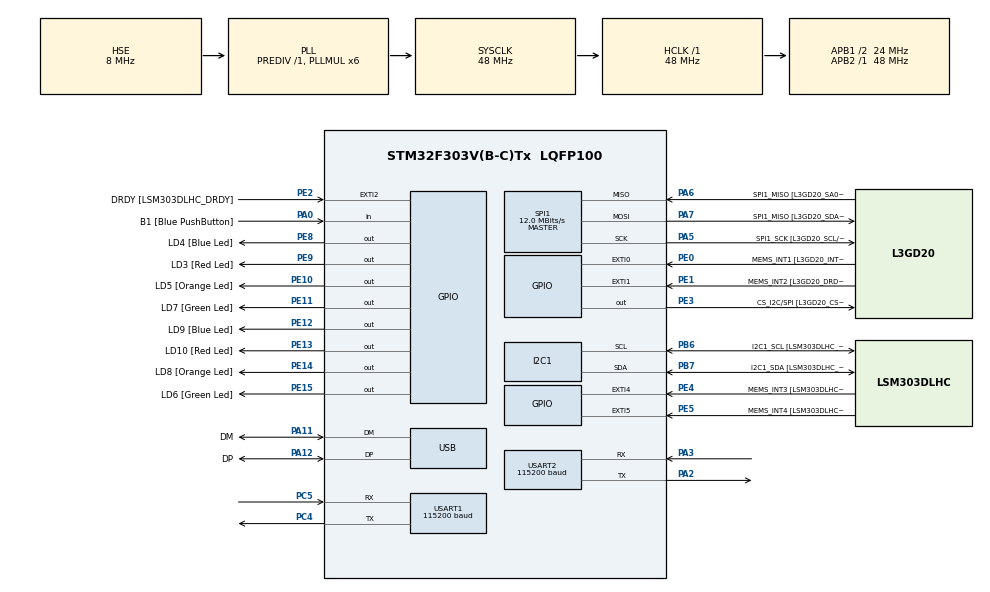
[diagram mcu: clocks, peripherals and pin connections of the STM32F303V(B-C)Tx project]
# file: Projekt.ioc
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ADC1.Channel-0\#ChannelRegularConversion=ADC_CHANNEL_TEMPSENSOR
ADC1.NbrOfConversionFlag=1
ADC1.Offset-0\#ChannelRegularConversion=0
ADC1.OffsetNumber-0\#ChannelRegularConversion=ADC_OFFSET_NONE
ADC1.Rank-0\#ChannelRegularConversion=1
ADC1.SamplingTime-0\#ChannelRegularConversion=ADC_SAMPLETIME_181CYCLES_5
ADC1.master=1
I2C1.Timing=0x00201D2B
I2C1.Timing-I2C=0x2000090E
Mcu.Family=STM32F3
Mcu.Name=STM32F303V(B-C)Tx
Mcu.Package=LQFP100
NVIC.PriorityGroup=NVIC_PRIORITYGROUP_0
PA0.GPIO_Label=B1 [Blue PushButton]
PA0.Signal=GPIO_Input
PA11.GPIO_Label=DM
PA11.Mode=Device
PA11.Signal=USB_DM
PA12.GPIO_Label=DP
PA12.Mode=Device
PA12.Signal=USB_DP
PA13.GPIO_Label=SWDIO
PA13.Mode=Serial_Wire
PA13.Signal=SYS_JTMS-SWDIO
PA14.GPIO_Label=SWCLK
PA14.Mode=Serial_Wire
PA14.Signal=SYS_JTCK-SWCLK
PA2.Mode=Asynchronous
PA2.Signal=USART2_TX
PA3.Mode=Asynchronous
PA3.Signal=USART2_RX
PA5.GPIO_Label=SPI1_SCK [L3GD20_SCL/SPC]
PA5.Mode=Full_Duplex_Master
PA5.Signal=SPI1_SCK
PA6.GPIO_Label=SPI1_MISO [L3GD20_SA0/SDO]
PA6.Mode=Full_Duplex_Master
PA6.Signal=SPI1_MISO
PA7.GPIO_Label=SPI1_MISO [L3GD20_SDA/SDI/SDO]
PA7.Mode=Full_Duplex_Master
PA7.Signal=SPI1_MOSI
PB3.GPIO_Label=SWO
PB3.Signal=SYS_JTDO-TRACESWO
PB6.GPIO_Label=I2C1_SCL [LSM303DLHC_SCL]
PB6.GPIO_Pu=GPIO_PULLUP
PB6.Mode=I2C
PB6.Signal=I2C1_SCL
PB7.GPIO_Label=I2C1_SDA [LSM303DLHC_SDA]
PB7.GPIO_Pu=GPIO_PULLUP
PB7.Mode=I2C
PB7.Signal=I2C1_SDA
PC14-OSC32_IN.GPIO_Label=OSC32_IN
PC14-OSC32_IN.Signal=RCC_OSC32_IN
PC15-OSC32_OUT.GPIO_Label=OSC32_OUT
PC15-OSC32_OUT.Signal=RCC_OSC32_OUT
PC4.Mode=Asynchronous
PC4.Signal=USART1_TX
PC5.Mode=Asynchronous
PC5.Signal=USART1_RX
PE0.GPIO_Label=MEMS_INT1 [L3GD20_INT1]
PE0.GPIO_ModeDefaultEXTI=GPIO_MODE_EVT_RISING
PE0.Signal=GPXTI0
PE1.GPIO_Label=MEMS_INT2 [L3GD20_DRDY/INT2]
PE1.GPIO_ModeDefaultEXTI=GPIO_MODE_EVT_RISING
PE1.Signal=GPXTI1
PE10.GPIO_Label=LD5 [Orange Led]
PE10.Signal=GPIO_Output
PE11.GPIO_Label=LD7 [Green Led]
PE11.Signal=GPIO_Output
PE12.GPIO_Label=LD9 [Blue Led]
PE12.Signal=GPIO_Output
PE13.GPIO_Label=LD10 [Red Led]
PE13.Signal=GPIO_Output
PE14.GPIO_Label=LD8 [Orange Led]
PE14.Signal=GPIO_Output
PE15.GPIO_Label=LD6 [Green Led]
PE15.Signal=GPIO_Output
PE2.GPIO_Label=DRDY [LSM303DLHC_DRDY]
PE2.GPIO_ModeDefaultEXTI=GPIO_MODE_EVT_RISING
PE2.Signal=GPXTI2
PE3.GPIO_Label=CS_I2C/SPI [L3GD20_CS_I2C/SPI]
PE3.Signal=GPIO_Output
PE4.GPIO_Label=MEMS_INT3 [LSM303DLHC_INT1]
PE4.GPIO_ModeDefaultEXTI=GPIO_MODE_EVT_RISING
PE4.Signal=GPXTI4
PE5.GPIO_Label=MEMS_INT4 [LSM303DLHC_INT2]
PE5.GPIO_ModeDefaultEXTI=GPIO_MODE_EVT_RISING
PE5.Signal=GPXTI5
PE8.GPIO_Label=LD4 [Blue Led]
PE8.Signal=GPIO_Output
PE9.GPIO_Label=LD3 [Red Led]
PE9.Signal=GPIO_Output
PF0-OSC_IN.GPIO_Label=OSC_IN
PF0-OSC_IN.Mode=HSE-External-Clock-Source
PF0-OSC_IN.Signal=RCC_OSC_IN
PF1-OSC_OUT.GPIO_Label=OSC_OUT
PF1-OSC_OUT.Signal=RCC_OSC_OUT
ProjectManager.HeapSize=0x200
ProjectManager.StackSize=0x400
ProjectManager.TargetToolchain=STM32CubeIDE
RCC.AHBFreq_Value=48000000
RCC.APB1CLKDivider=RCC_HCLK_DIV2
RCC.APB1Freq_Value=24000000
RCC.APB1TimFreq_Value=48000000
RCC.APB2Freq_Value=48000000
RCC.APB2TimFreq_Value=48000000
RCC.CortexFreq_Value=48000000
RCC.HCLKFreq_Value=48000000
RCC.HSE_VALUE=8000000
RCC.HSI_VALUE=8000000
RCC.LSE_VALUE=32768
RCC.PLLMUL=RCC_PLL_MUL6
RCC.SYSCLKFreq_VALUE=48000000
RCC.SYSCLKSourceVirtual=RCC_SYSCLKSOURCE_PLLCLK
RCC.USBFreq_Value=48000000
SPI1.BaudRatePrescaler=SPI_BAUDRATEPRESCALER_4
SPI1.BaudRatePrescaler-Full_Duplex_Master=SPI_BAUDRATEPRESCALER_2
SPI1.CalculateBaudRate=12.0 MBits/s
SPI1.CalculateBaudRate-Full_Duplex_Master=24.0 MBits/s
SPI1.Direction=SPI_DIRECTION_2LINES
SPI1.Mode=SPI_MODE_MASTER
SPI1.Mode-Full_Duplex_Master=SPI_MODE_MASTER
SPI1.VirtualType=VM_MASTER
USART1.BaudRate=115200
USART1.VirtualMode-Asynchronous=VM_ASYNC
USART2.BaudRate=115200
USART2.VirtualMode-Asynchronous=VM_ASYNC
VP_ADC1_TempSens_Input.Mode=IN-TempSens
board=STM32F3DISCOVERY

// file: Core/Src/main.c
/* USER CODE BEGIN Header */
/**
  ******************************************************************************
  * @file           : main.c
  * @brief          : Temperatura + Štetje korakov z LSM303DLHC
  ******************************************************************************
  */
/* USER CODE END Header */
#include "main.h"

/* USER CODE BEGIN Includes */
#include <string.h>
/* USER CODE END Includes */

/* USER CODE BEGIN PD */
#define TS_CAL1 *((uint16_t*)0x1FFFF7C2)
#define TS_CAL2 *((uint16_t*)0x1FFFF7B8)
#define AVG_SLOPE ((float)(TS_CAL2 - TS_CAL1) / 80.0f)

// LSM303DLHC Akcelometer I2C naslov
#define LSM303DLHC_ACC_ADDR (0x19 << 1)  // 0x32

// LSM303DLHC registri
#define LSM303DLHC_CTRL_REG1_A 0x20
#define LSM303DLHC_CTRL_REG4_A 0x23
#define LSM303DLHC_OUT_X_L_A   0x28
#define LSM303DLHC_OUT_X_H_A   0x29
#define LSM303DLHC_OUT_Y_L_A   0x2A
#define LSM303DLHC_OUT_Y_H_A   0x2B
#define LSM303DLHC_OUT_Z_L_A   0x2C
#define LSM303DLHC_OUT_Z_H_A   0x2D

// Parametri za detekcijo korakov
#define STEP_THRESHOLD 0.20f      // Prag za detekcijo koraka (g) - znižan za normalno hojo
#define STEP_MIN_INTERVAL 250     // Minimalen čas med koraki (ms)
#define STEP_MAX_INTERVAL 2000    // Maksimalen čas med koraki (ms)
#define GRAVITY 1.0f              // Gravitacijski pospešek (g)

#define AP_SSID "ESP32-WEB"
#define AP_PASS "12345678"

#define WIFI_SSID "247386"
#define WIFI_PASS "dh7xfrp4rh"

#define WEBSERVER_PORT 80
#define WEBSERVER_TIMEOUT 60

/* USER CODE END PD */

ADC_HandleTypeDef hadc1;

I2C_HandleTypeDef hi2c1;

SPI_HandleTypeDef hspi1;

UART_HandleTypeDef huart1;
UART_HandleTypeDef huart2;

PCD_HandleTypeDef hpcd_USB_FS;

/* USER CODE BEGIN PV */
char uartBuf[150];

// ESP32 UART receive buffer
#define ESP_RX_BUFFER_SIZE 512
uint8_t esp_rx_buffer[ESP_RX_BUFFER_SIZE];
uint16_t esp_rx_index = 0;
uint8_t esp_rx_byte;  // Za interrupt receive

uint32_t step_count = 0;
uint32_t last_step_time = 0;
float prev_magnitude = GRAVITY;
uint8_t step_state = 0;  // 0: čakanje na vrh, 1: čakanje na padec
uint8_t esp_init_done = 0;
/* USER CODE END PV */

void SystemClock_Config(void);
static void MX_GPIO_Init(void);
static void MX_I2C1_Init(void);
static void MX_SPI1_Init(void);
static void MX_USB_PCD_Init(void);
static void MX_USART2_UART_Init(void);
static void MX_ADC1_Init(void);
static void MX_USART1_UART_Init(void);

/* USER CODE BEGIN 0 */

void ESP_ClearRxBuffer(void)
{
    if (esp_rx_index > 0)
    {
        HAL_UART_Transmit(&huart1, (uint8_t*)"[ESP RX]: ", 10, HAL_MAX_DELAY);
        HAL_UART_Transmit(&huart1, esp_rx_buffer, esp_rx_index, HAL_MAX_DELAY);
        HAL_UART_Transmit(&huart1, (uint8_t*)"\r\n", 2, HAL_MAX_DELAY);
    }

    memset(esp_rx_buffer, 0, ESP_RX_BUFFER_SIZE);
    esp_rx_index = 0;
}

HAL_StatusTypeDef ESP_WaitForResponse(const char* expected, uint32_t timeout)
{
    uint32_t start = HAL_GetTick();
    while ((HAL_GetTick() - start) < timeout)
    {
        if (strstr((char*)esp_rx_buffer, expected) != NULL)
        {
            char msg[50];
            int len = snprintf(msg, sizeof(msg), "[ESP OK]: Found '%s'\r\n", expected);
            HAL_UART_Transmit(&huart1, (uint8_t*)msg, len, HAL_MAX_DELAY);
            return HAL_OK;
        }
        HAL_Delay(10);
    }

    char msg[50];
    int len = snprintf(msg, sizeof(msg), "[ESP TIMEOUT]: '%s' not found\r\n", expected);
    HAL_UART_Transmit(&huart1, (uint8_t*)msg, len, HAL_MAX_DELAY);
    return HAL_TIMEOUT;
}

static void esp_start_webserver(void)
{
  char cmd[96];

  ESP_ClearRxBuffer();
  HAL_UART_Transmit(&huart2, (uint8_t*)"AT+SYSSTORE=1\r\n", 12, HAL_MAX_DELAY);
  ESP_WaitForResponse("OK", 8000);

  ESP_ClearRxBuffer();
  HAL_UART_Transmit(&huart2, (uint8_t*)"AT+CWMODE=3\r\n", 13, HAL_MAX_DELAY);
  ESP_WaitForResponse("OK", 2000);

  ESP_ClearRxBuffer();
  snprintf(cmd, sizeof(cmd), "AT+CWSAP=\"%s\",\"%s\",11,3,3\r\n", AP_SSID, AP_PASS);

  HAL_UART_Transmit(&huart2, (uint8_t*)cmd, strlen(cmd), HAL_MAX_DELAY);
  ESP_WaitForResponse("OK", 3000);

  ESP_ClearRxBuffer();
  HAL_UART_Transmit(&huart2, (uint8_t*)"AT+CIPMUX=1\r\n", 13, HAL_MAX_DELAY);
  ESP_WaitForResponse("OK", 1000);

  ESP_ClearRxBuffer();
  snprintf(cmd, sizeof(cmd), "AT+WEBSERVER=1,%u,%u\r\n", WEBSERVER_PORT, WEBSERVER_TIMEOUT);
  HAL_UART_Transmit(&huart2, (uint8_t*)cmd, strlen(cmd), HAL_MAX_DELAY);
  ESP_WaitForResponse("OK", 5000);
}

static HAL_StatusTypeDef esp_setup_wifi(void)
{
    ESP_ClearRxBuffer();
    HAL_UART_Transmit(&huart2, (uint8_t*)"AT+CWMODE=3\r\n", 13, HAL_MAX_DELAY);
    ESP_WaitForResponse("OK", 2000);

    char cmd[128];
    ESP_ClearRxBuffer();
    snprintf(cmd, sizeof(cmd), "AT+CWJAP=\"%s\",\"%s\"\r\n", WIFI_SSID, WIFI_PASS);
    HAL_UART_Transmit(&huart2, (uint8_t*)cmd, strlen(cmd), HAL_MAX_DELAY);
    if (ESP_WaitForResponse("OK", 10000) != HAL_OK)
    {
        return HAL_ERROR;
    }

    ESP_ClearRxBuffer();
    HAL_UART_Transmit(&huart2, (uint8_t*)"AT+CIPMUX=1\r\n", 13, HAL_MAX_DELAY);
    ESP_WaitForResponse("OK", 1000);

    return HAL_OK;
}

void ESP_SendHTTPPost(const char* type, float value)
{
    char payload[150];
    char http_request[400];
    char cmd[100];

    // Link ID za CIPMUX=1 način (webserver uporablja ostale ID-je)
    const uint8_t link_id = 0;

    // 1. Pripravi JSON payload
    int payload_len = snprintf(payload, sizeof(payload),
            "{\"userId\":\"6969879105a4050f41712049\",\"type\":\"%s\",\"value\":%.1f}",
            type, value);

    // 2. Pripravi HTTP request
    snprintf(http_request, sizeof(http_request),
             "POST /api/sensorData HTTP/1.1\r\n"
             "Host: 172.20.10.10:3001\r\n"
             "Content-Type: application/json\r\n"
             "Content-Length: %d\r\n"
             "Connection: close\r\n"
             "\r\n"
             "%s",
             payload_len, payload);

    int request_len = strlen(http_request);

    // 3. Zapri morebitno odprto povezavo (z link ID!)
    ESP_ClearRxBuffer();
    snprintf(cmd, sizeof(cmd), "AT+CIPCLOSE=%d\r\n", link_id);
    HAL_UART_Transmit(&huart2, (uint8_t*)cmd, strlen(cmd), HAL_MAX_DELAY);
    HAL_Delay(500);

    // 4. Odpri TCP povezavo (z link ID!)
    ESP_ClearRxBuffer();
    snprintf(cmd, sizeof(cmd), "AT+CIPSTART=%d,\"TCP\",\"172.20.10.10\",3001\r\n", link_id);
    HAL_UART_Transmit(&huart2, (uint8_t*)cmd, strlen(cmd), HAL_MAX_DELAY);
    ESP_WaitForResponse("OK", 5000);

    ESP_ClearRxBuffer();
    snprintf(cmd, sizeof(cmd), "AT+CIPSEND=%d,%d\r\n", link_id, request_len);
    HAL_UART_Transmit(&huart2, (uint8_t*)cmd, strlen(cmd), HAL_MAX_DELAY);
    ESP_WaitForResponse(">", 2000);

    ESP_ClearRxBuffer();
    HAL_UART_Transmit(&huart2, (uint8_t*)http_request, request_len, HAL_MAX_DELAY);
    ESP_WaitForResponse("SEND OK", 3000);

    HAL_Delay(500);
    snprintf(cmd, sizeof(cmd), "AT+CIPCLOSE=%d\r\n", link_id);
    HAL_UART_Transmit(&huart2, (uint8_t*)cmd, strlen(cmd), HAL_MAX_DELAY);
}

float Read_Temperature(void)
{
    uint32_t adc_value;
    HAL_ADC_Start(&hadc1);
    HAL_ADC_PollForConversion(&hadc1, 100);
    adc_value = HAL_ADC_GetValue(&hadc1);
    HAL_ADC_Stop(&hadc1);

    float slope = (float)(TS_CAL2 - TS_CAL1) / (110.0f - 30.0f);
    float temp = ((float)adc_value - TS_CAL1) / slope + 30.0f;
    float calibrated_temp = temp - 115.0f;

    return calibrated_temp;
}

void LSM303DLHC_WriteReg(uint8_t reg, uint8_t value)
{
    uint8_t data[2] = {reg, value};
    HAL_I2C_Master_Transmit(&hi2c1, LSM303DLHC_ACC_ADDR, data, 2, HAL_MAX_DELAY);
}

uint8_t LSM303DLHC_ReadReg(uint8_t reg)
{
    uint8_t value;
    HAL_I2C_Mem_Read(&hi2c1, LSM303DLHC_ACC_ADDR, reg, I2C_MEMADD_SIZE_8BIT, &value, 1, HAL_MAX_DELAY);
    return value;
}

void LSM303DLHC_Init(void)
{

    LSM303DLHC_WriteReg(LSM303DLHC_CTRL_REG1_A, 0x57);

    LSM303DLHC_WriteReg(LSM303DLHC_CTRL_REG4_A, 0x08);

    HAL_Delay(10);
}

void LSM303DLHC_ReadAccel(int16_t* x, int16_t* y, int16_t* z)
{
    uint8_t buffer[6];

    HAL_I2C_Mem_Read(&hi2c1, LSM303DLHC_ACC_ADDR,
                     LSM303DLHC_OUT_X_L_A | 0x80,
                     I2C_MEMADD_SIZE_8BIT,
                     buffer, 6, HAL_MAX_DELAY);

    *x = (int16_t)((buffer[1] << 8) | buffer[0]);
    *y = (int16_t)((buffer[3] << 8) | buffer[2]);
    *z = (int16_t)((buffer[5] << 8) | buffer[4]);
}

void LSM303DLHC_ReadAccel_G(float* x, float* y, float* z)
{
    int16_t raw_x, raw_y, raw_z;
    LSM303DLHC_ReadAccel(&raw_x, &raw_y, &raw_z);

    *x = raw_x / 16384.0f;
    *y = raw_y / 16384.0f;
    *z = raw_z / 16384.0f;
}

float Process_Steps(float ax, float ay, float az)
{
    float magnitude = sqrtf(ax*ax + ay*ay + az*az);
    float accel_diff = fabs(magnitude - GRAVITY);

    uint32_t current_time = HAL_GetTick();
    uint32_t time_since_last_step = current_time - last_step_time;

    if (step_state == 0)
    {
        if (accel_diff > STEP_THRESHOLD && accel_diff > fabs(prev_magnitude - GRAVITY))
        {
            if (time_since_last_step > STEP_MIN_INTERVAL)
            {
                step_count++;
                last_step_time = current_time;
                step_state = 1;
            }
        }
    }
    else if (step_state == 1)
    {
        if (accel_diff < STEP_THRESHOLD * 0.6f)
        {
            step_state = 0;
        }
    }

    if (time_since_last_step > STEP_MAX_INTERVAL)
    {
        step_state = 0;
    }

    prev_magnitude = magnitude;
    return magnitude;
}

/* USER CODE END 0 */

int main(void)
{

  /* MCU Configuration--------------------------------------------------------*/

  /* Reset of all peripherals, Initializes the Flash interface and the Systick. */
  HAL_Init();

  /* Configure the system clock */
  SystemClock_Config();

  /* Initialize all configured peripherals */
  MX_GPIO_Init();
  MX_I2C1_Init();
  MX_SPI1_Init();
  MX_USB_PCD_Init();
  MX_USART2_UART_Init();
  MX_ADC1_Init();
  MX_USART1_UART_Init();
  /* USER CODE BEGIN 2 */

  HAL_ADCEx_Calibration_Start(&hadc1, ADC_SINGLE_ENDED);
  HAL_Delay(1000);

  HAL_UART_Receive_IT(&huart2, &esp_rx_byte, 1);

  HAL_Delay(5000);

  LSM303DLHC_Init();
  HAL_Delay(1000);

  //esp_setup_wifi();
  //HAL_Delay(2000);

  esp_start_webserver();
  HAL_Delay(2000);

  /* USER CODE END 2 */

  /* Infinite loop */
  /* USER CODE BEGIN WHILE */
  uint32_t temp_update_time = 0;
  uint32_t send_data_time = 0;
  float magnitude = 0;

  while (1)
    {
      /* USER CODE END WHILE */

      /* USER CODE BEGIN 3 */

      float ax, ay, az;
      LSM303DLHC_ReadAccel_G(&ax, &ay, &az);

      magnitude = Process_Steps(ax, ay, az);

      if (HAL_GetTick() - temp_update_time > 1000)
      {
          temp_update_time = HAL_GetTick();

          float temperatura = Read_Temperature();
          float diff = fabs(magnitude - GRAVITY);

          int len = snprintf(uartBuf, sizeof(uartBuf),
                            "Temp: %.1f°C | Koraki: %lu | Mag: %.2f (diff: %.2f) | X=%.2f Y=%.2f Z=%.2f\r\n",
                            temperatura, step_count, magnitude, diff, ax, ay, az);

          HAL_UART_Transmit(&huart2, (uint8_t*)uartBuf, len, HAL_MAX_DELAY);
      }

      if (HAL_GetTick() - send_data_time > 10000)
      {
          send_data_time = HAL_GetTick();

          float temperatura = Read_Temperature();

          ESP_SendHTTPPost("temperature", temperatura);

          HAL_Delay(500);

          ESP_SendHTTPPost("steps", (float)step_count);

          int len = snprintf(uartBuf, sizeof(uartBuf),
                            ">>> Podatki poslani: Temp=%.1f°C, Koraki=%lu\r\n",
                            temperatura, step_count);
          HAL_UART_Transmit(&huart2, (uint8_t*)uartBuf, len, HAL_MAX_DELAY);
      }

      HAL_Delay(10);
    }
  /* USER CODE END 3 */
}

void SystemClock_Config(void)
{
  RCC_OscInitTypeDef RCC_OscInitStruct = {0};
  RCC_ClkInitTypeDef RCC_ClkInitStruct = {0};
  RCC_PeriphCLKInitTypeDef PeriphClkInit = {0};

  /** Initializes the RCC Oscillators according to the specified parameters
  * in the RCC_OscInitTypeDef structure.
  */
  RCC_OscInitStruct.OscillatorType = RCC_OSCILLATORTYPE_HSI|RCC_OSCILLATORTYPE_HSE;
  RCC_OscInitStruct.HSEState = RCC_HSE_BYPASS;
  RCC_OscInitStruct.HSEPredivValue = RCC_HSE_PREDIV_DIV1;
  RCC_OscInitStruct.HSIState = RCC_HSI_ON;
  RCC_OscInitStruct.HSICalibrationValue = RCC_HSICALIBRATION_DEFAULT;
  RCC_OscInitStruct.PLL.PLLState = RCC_PLL_ON;
  RCC_OscInitStruct.PLL.PLLSource = RCC_PLLSOURCE_HSE;
  RCC_OscInitStruct.PLL.PLLMUL = RCC_PLL_MUL6;
  if (HAL_RCC_OscConfig(&RCC_OscInitStruct) != HAL_OK)
  {
    Error_Handler();
  }

  /** Initializes the CPU, AHB and APB buses clocks
  */
  RCC_ClkInitStruct.ClockType = RCC_CLOCKTYPE_HCLK|RCC_CLOCKTYPE_SYSCLK
                              |RCC_CLOCKTYPE_PCLK1|RCC_CLOCKTYPE_PCLK2;
  RCC_ClkInitStruct.SYSCLKSource = RCC_SYSCLKSOURCE_PLLCLK;
  RCC_ClkInitStruct.AHBCLKDivider = RCC_SYSCLK_DIV1;
  RCC_ClkInitStruct.APB1CLKDivider = RCC_HCLK_DIV2;
  RCC_ClkInitStruct.APB2CLKDivider = RCC_HCLK_DIV1;

  if (HAL_RCC_ClockConfig(&RCC_ClkInitStruct, FLASH_LATENCY_1) != HAL_OK)
  {
    Error_Handler();
  }
  PeriphClkInit.PeriphClockSelection = RCC_PERIPHCLK_USB|RCC_PERIPHCLK_USART1
                              |RCC_PERIPHCLK_USART2|RCC_PERIPHCLK_I2C1
                              |RCC_PERIPHCLK_ADC12;
  PeriphClkInit.Usart1ClockSelection = RCC_USART1CLKSOURCE_PCLK2;
  PeriphClkInit.Usart2ClockSelection = RCC_USART2CLKSOURCE_PCLK1;
  PeriphClkInit.Adc12ClockSelection = RCC_ADC12PLLCLK_DIV1;
  PeriphClkInit.I2c1ClockSelection = RCC_I2C1CLKSOURCE_HSI;
  PeriphClkInit.USBClockSelection = RCC_USBCLKSOURCE_PLL;
  if (HAL_RCCEx_PeriphCLKConfig(&PeriphClkInit) != HAL_OK)
  {
    Error_Handler();
  }
}

static void MX_ADC1_Init(void)
{

  ADC_MultiModeTypeDef multimode = {0};
  ADC_ChannelConfTypeDef sConfig = {0};

  /** Common config
  */
  hadc1.Instance = ADC1;
  hadc1.Init.ClockPrescaler = ADC_CLOCK_ASYNC_DIV1;
  hadc1.Init.Resolution = ADC_RESOLUTION_12B;
  hadc1.Init.ScanConvMode = ADC_SCAN_DISABLE;
  hadc1.Init.ContinuousConvMode = DISABLE;
  hadc1.Init.DiscontinuousConvMode = DISABLE;
  hadc1.Init.ExternalTrigConvEdge = ADC_EXTERNALTRIGCONVEDGE_NONE;
  hadc1.Init.ExternalTrigConv = ADC_SOFTWARE_START;
  hadc1.Init.DataAlign = ADC_DATAALIGN_RIGHT;
  hadc1.Init.NbrOfConversion = 1;
  hadc1.Init.DMAContinuousRequests = DISABLE;
  hadc1.Init.EOCSelection = ADC_EOC_SINGLE_CONV;
  hadc1.Init.LowPowerAutoWait = DISABLE;
  hadc1.Init.Overrun = ADC_OVR_DATA_OVERWRITTEN;
  if (HAL_ADC_Init(&hadc1) != HAL_OK)
  {
    Error_Handler();
  }

  /** Configure the ADC multi-mode
  */
  multimode.Mode = ADC_MODE_INDEPENDENT;
  if (HAL_ADCEx_MultiModeConfigChannel(&hadc1, &multimode) != HAL_OK)
  {
    Error_Handler();
  }

  /** Configure Regular Channel
  */
  sConfig.Channel = ADC_CHANNEL_TEMPSENSOR;
  sConfig.Rank = ADC_REGULAR_RANK_1;
  sConfig.SingleDiff = ADC_SINGLE_ENDED;
  sConfig.SamplingTime = ADC_SAMPLETIME_181CYCLES_5;
  sConfig.OffsetNumber = ADC_OFFSET_NONE;
  sConfig.Offset = 0;
  if (HAL_ADC_ConfigChannel(&hadc1, &sConfig) != HAL_OK)
  {
    Error_Handler();
  }

}

static void MX_I2C1_Init(void)
{

  hi2c1.Instance = I2C1;
  hi2c1.Init.Timing = 0x00201D2B;
  hi2c1.Init.OwnAddress1 = 0;
  hi2c1.Init.AddressingMode = I2C_ADDRESSINGMODE_7BIT;
  hi2c1.Init.DualAddressMode = I2C_DUALADDRESS_DISABLE;
  hi2c1.Init.OwnAddress2 = 0;
  hi2c1.Init.OwnAddress2Masks = I2C_OA2_NOMASK;
  hi2c1.Init.GeneralCallMode = I2C_GENERALCALL_DISABLE;
  hi2c1.Init.NoStretchMode = I2C_NOSTRETCH_DISABLE;
  if (HAL_I2C_Init(&hi2c1) != HAL_OK)
  {
    Error_Handler();
  }

  /** Configure Analogue filter
  */
  if (HAL_I2CEx_ConfigAnalogFilter(&hi2c1, I2C_ANALOGFILTER_ENABLE) != HAL_OK)
  {
    Error_Handler();
  }

  /** Configure Digital filter
  */
  if (HAL_I2CEx_ConfigDigitalFilter(&hi2c1, 0) != HAL_OK)
  {
    Error_Handler();
  }

}

static void MX_SPI1_Init(void)
{

  /* SPI1 parameter configuration*/
  hspi1.Instance = SPI1;
  hspi1.Init.Mode = SPI_MODE_MASTER;
  hspi1.Init.Direction = SPI_DIRECTION_2LINES;
  hspi1.Init.DataSize = SPI_DATASIZE_4BIT;
  hspi1.Init.CLKPolarity = SPI_POLARITY_LOW;
  hspi1.Init.CLKPhase = SPI_PHASE_1EDGE;
  hspi1.Init.NSS = SPI_NSS_SOFT;
  hspi1.Init.BaudRatePrescaler = SPI_BAUDRATEPRESCALER_4;
  hspi1.Init.FirstBit = SPI_FIRSTBIT_MSB;
  hspi1.Init.TIMode = SPI_TIMODE_DISABLE;
  hspi1.Init.CRCCalculation = SPI_CRCCALCULATION_DISABLE;
  hspi1.Init.CRCPolynomial = 7;
  hspi1.Init.CRCLength = SPI_CRC_LENGTH_DATASIZE;
  hspi1.Init.NSSPMode = SPI_NSS_PULSE_ENABLE;
  if (HAL_SPI_Init(&hspi1) != HAL_OK)
  {
    Error_Handler();
  }

}

static void MX_USART1_UART_Init(void)
{

  huart1.Instance = USART1;
  huart1.Init.BaudRate = 115200;
  huart1.Init.WordLength = UART_WORDLENGTH_8B;
  huart1.Init.StopBits = UART_STOPBITS_1;
  huart1.Init.Parity = UART_PARITY_NONE;
  huart1.Init.Mode = UART_MODE_TX_RX;
  huart1.Init.HwFlowCtl = UART_HWCONTROL_NONE;
  huart1.Init.OverSampling = UART_OVERSAMPLING_16;
  huart1.Init.OneBitSampling = UART_ONE_BIT_SAMPLE_DISABLE;
  huart1.AdvancedInit.AdvFeatureInit = UART_ADVFEATURE_NO_INIT;
  if (HAL_UART_Init(&huart1) != HAL_OK)
  {
    Error_Handler();
  }

}

static void MX_USART2_UART_Init(void)
{

  huart2.Instance = USART2;
  huart2.Init.BaudRate = 115200;
  huart2.Init.WordLength = UART_WORDLENGTH_8B;
  huart2.Init.StopBits = UART_STOPBITS_1;
  huart2.Init.Parity = UART_PARITY_NONE;
  huart2.Init.Mode = UART_MODE_TX_RX;
  huart2.Init.HwFlowCtl = UART_HWCONTROL_NONE;
  huart2.Init.OverSampling = UART_OVERSAMPLING_16;
  huart2.Init.OneBitSampling = UART_ONE_BIT_SAMPLE_DISABLE;
  huart2.AdvancedInit.AdvFeatureInit = UART_ADVFEATURE_NO_INIT;
  if (HAL_UART_Init(&huart2) != HAL_OK)
  {
    Error_Handler();
  }

}

static void MX_USB_PCD_Init(void)
{

  hpcd_USB_FS.Instance = USB;
  hpcd_USB_FS.Init.dev_endpoints = 8;
  hpcd_USB_FS.Init.speed = PCD_SPEED_FULL;
  hpcd_USB_FS.Init.phy_itface = PCD_PHY_EMBEDDED;
  hpcd_USB_FS.Init.low_power_enable = DISABLE;
  hpcd_USB_FS.Init.battery_charging_enable = DISABLE;
  if (HAL_PCD_Init(&hpcd_USB_FS) != HAL_OK)
  {
    Error_Handler();
  }

}

static void MX_GPIO_Init(void)
{
  GPIO_InitTypeDef GPIO_InitStruct = {0};

  /* GPIO Ports Clock Enable */
  __HAL_RCC_GPIOE_CLK_ENABLE();
  __HAL_RCC_GPIOC_CLK_ENABLE();
  __HAL_RCC_GPIOF_CLK_ENABLE();
  __HAL_RCC_GPIOA_CLK_ENABLE();
  __HAL_RCC_GPIOB_CLK_ENABLE();

  /*Configure GPIO pin Output Level */
  HAL_GPIO_WritePin(GPIOE, CS_I2C_SPI_Pin|LD4_Pin|LD3_Pin|LD5_Pin
                          |LD7_Pin|LD9_Pin|LD10_Pin|LD8_Pin
                          |LD6_Pin, GPIO_PIN_RESET);

  /*Configure GPIO pins : DRDY_Pin MEMS_INT3_Pin MEMS_INT4_Pin MEMS_INT1_Pin
                           MEMS_INT2_Pin */
  GPIO_InitStruct.Pin = DRDY_Pin|MEMS_INT3_Pin|MEMS_INT4_Pin|MEMS_INT1_Pin
                          |MEMS_INT2_Pin;
  GPIO_InitStruct.Mode = GPIO_MODE_EVT_RISING;
  GPIO_InitStruct.Pull = GPIO_NOPULL;
  HAL_GPIO_Init(GPIOE, &GPIO_InitStruct);

  /*Configure GPIO pins : CS_I2C_SPI_Pin LD4_Pin LD3_Pin LD5_Pin
                           LD7_Pin LD9_Pin LD10_Pin LD8_Pin
                           LD6_Pin */
  GPIO_InitStruct.Pin = CS_I2C_SPI_Pin|LD4_Pin|LD3_Pin|LD5_Pin
                          |LD7_Pin|LD9_Pin|LD10_Pin|LD8_Pin
                          |LD6_Pin;
  GPIO_InitStruct.Mode = GPIO_MODE_OUTPUT_PP;
  GPIO_InitStruct.Pull = GPIO_NOPULL;
  GPIO_InitStruct.Speed = GPIO_SPEED_FREQ_LOW;
  HAL_GPIO_Init(GPIOE, &GPIO_InitStruct);

  /*Configure GPIO pin : B1_Pin */
  GPIO_InitStruct.Pin = B1_Pin;
  GPIO_InitStruct.Mode = GPIO_MODE_INPUT;
  GPIO_InitStruct.Pull = GPIO_NOPULL;
  HAL_GPIO_Init(B1_GPIO_Port, &GPIO_InitStruct);

}

/* USER CODE BEGIN 4 */

void HAL_UART_RxCpltCallback(UART_HandleTypeDef *huart)
{
    if (huart->Instance == USART2)
    {
        if (esp_rx_index < ESP_RX_BUFFER_SIZE - 1)
        {
            esp_rx_buffer[esp_rx_index++] = esp_rx_byte;
            esp_rx_buffer[esp_rx_index] = '\0';
        }

        HAL_UART_Receive_IT(&huart2, &esp_rx_byte, 1);
    }
}

/* USER CODE END 4 */

void Error_Handler(void)
{
  __disable_irq();
  while (1)
  {
  }
}
